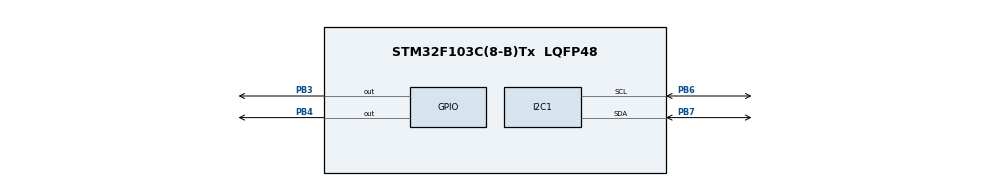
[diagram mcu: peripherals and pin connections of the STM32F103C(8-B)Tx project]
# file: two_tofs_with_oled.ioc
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I2C1.I2C_Mode=I2C_Fast
Mcu.Family=STM32F1
Mcu.Name=STM32F103C(8-B)Tx
Mcu.Package=LQFP48
NVIC.PriorityGroup=NVIC_PRIORITYGROUP_4
PA13.Mode=Serial_Wire
PA13.Signal=SYS_JTMS-SWDIO
PA14.Mode=Serial_Wire
PA14.Signal=SYS_JTCK-SWCLK
PB3.Signal=GPIO_Output
PB4.Signal=GPIO_Output
PB6.Mode=I2C
PB6.Signal=I2C1_SCL
PB7.Mode=I2C
PB7.Signal=I2C1_SDA
ProjectManager.HeapSize=0x200
ProjectManager.StackSize=0x400
ProjectManager.TargetToolchain=STM32CubeIDE
RCC.APB1Freq_Value=8000000
RCC.APB2Freq_Value=8000000
board=custom

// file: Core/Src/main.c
/* USER CODE BEGIN Header */
/**
  ******************************************************************************
  * @file           : main.c
  * @brief          : Main program body
  ******************************************************************************
  * @attention
  *
  * Copyright (c) 2025 STMicroelectronics.
  * All rights reserved.
  *
  * This software is licensed under terms that can be found in the LICENSE file
  * in the root directory of this software component.
  * If no LICENSE file comes with this software, it is provided AS-IS.
  *
  ******************************************************************************
  */
/* USER CODE END Header */
#include "main.h"

/* USER CODE BEGIN Includes */
#include "fonts.h"
#include "ssd1306.h"
#include "VL53L0X.h"
/* USER CODE END Includes */

I2C_HandleTypeDef hi2c1;

void SystemClock_Config(void);
static void MX_GPIO_Init(void);
static void MX_I2C1_Init(void);

/* USER CODE BEGIN 0 */
uint8_t stop_variable = 50;
uint16_t timeout_start_ms = 50;
uint16_t io_timeout = 50;
uint8_t did_timeout = 50;

uint8_t SENSOR1_ADDRESS =0x31;
uint8_t SENSOR2_ADDRESS = 0x32;

void displayMessage(const char *line1, const char *line2, uint16_t delay) {
    SSD1306_Clear();
    SSD1306_GotoXY(0, 10);
    SSD1306_Puts(line1, &Font_11x18, 1);
    if (line2 != NULL) {
        SSD1306_GotoXY(0, 30);
        SSD1306_Puts(line2, &Font_11x18, 1);
    }
    SSD1306_UpdateScreen();
    HAL_Delay(delay);
}

void scanI2CBus(void) {
    char buffer[16];
    SSD1306_Clear();
    SSD1306_GotoXY(0, 0);
    SSD1306_Puts("I2C Scan:", &Font_11x18, 1);

    for (uint8_t address = 1; address < 128; address++) {
        // Perform an I2C write operation to check if the device responds
        if (HAL_I2C_IsDeviceReady(&hi2c1, (address << 1), 1, 10) == HAL_OK) {
            snprintf(buffer, sizeof(buffer), "Found: 0x%02X", address);
            SSD1306_GotoXY(0, 30);
            SSD1306_Puts(buffer, &Font_11x18, 1);
            SSD1306_UpdateScreen();
            HAL_Delay(1000);
            //SD1306_Clear();// Delay to display each address found
        }
    }
    HAL_Delay(2000);  // Delay at the end of the scan
}

/* USER CODE END 0 */

int main(void)
{

  /* MCU Configuration--------------------------------------------------------*/

  /* Reset of all peripherals, Initializes the Flash interface and the Systick. */
  HAL_Init();

  /* Configure the system clock */
  SystemClock_Config();

  /* Initialize all configured peripherals */
  MX_GPIO_Init();
  MX_I2C1_Init();
  /* USER CODE BEGIN 2 */

  //scanI2CBus();
  //displayMessage("Initializing", "I2C...", 500);

//  if (HAL_I2C_Init(&hi2c1) != HAL_OK) {
//      displayMessage("I2C Init", "Failed", 2000);
//      Error_Handler();
//  } else {
//      displayMessage("I2C Init", "Success", 2000);
//  }

  HAL_GPIO_WritePin(GPIOB, GPIO_PIN_3, 1);  // Enable Sensor 1
  HAL_GPIO_WritePin(GPIOB, GPIO_PIN_4, 0);  // Disable Sensor 2
  HAL_Delay(50);

//  displayMessage("Initializing", "Sensor 1", 500);
  if (!init(true)) {
      //displayMessage("Sensor 1", "Init Failed", 2000);
      Error_Handler();
  }
  setAddress(SENSOR1_ADDRESS);
  //displayMessage("Sensor 1", "Initialized", 1000);
  //scanI2CBus();

  HAL_GPIO_WritePin(GPIOB, GPIO_PIN_3, 0);  // Disable Sensor 1
  HAL_GPIO_WritePin(GPIOB, GPIO_PIN_4, 1);  // Enable Sensor 2
  HAL_Delay(50);

  //displayMessage("Initializing", "Sensor 2", 500);
  if (!init(true)) {
    //  displayMessage("Sensor 2", "Init Failed", 2000);
      Error_Handler();
  }
  setAddress(SENSOR2_ADDRESS);
  //displayMessage("Sensor 2", "Initialized", 1000);
  SSD1306_Init();
  scanI2CBus();
  uint16_t distance1, distance2;
  char buffer1[16], buffer2[16];
 // HAL_GPIO_WritePin(GPIOB, GPIO_PIN_3, 1);
 // HAL_GPIO_WritePin(GPIOB, GPIO_PIN_4, 1);
  /* USER CODE END 2 */

  /* Infinite loop */
  /* USER CODE BEGIN WHILE */
  while (1)
  {
	  HAL_GPIO_WritePin(GPIOB, GPIO_PIN_3, 1); // Enable Sensor 1
	  HAL_GPIO_WritePin(GPIOB, GPIO_PIN_4, 0); // Disable Sensor 2

	  VL53L0X_SetAddress(SENSOR1_ADDRESS);
	  uint16_t distance = readRangeSingleMillimeters();
	  SSD1306_Clear();
	  SSD1306_GotoXY(0, 10);
	  SSD1306_Puts("Sensor 1:", &Font_11x18, 1);
	  SSD1306_GotoXY(0, 30);
	  itoa(distance, buffer1, 10);
	  SSD1306_Puts(buffer1, &Font_11x18, 1);
	  SSD1306_UpdateScreen();
	  HAL_Delay(1000);

    /* USER CODE END WHILE */

  }
}

void SystemClock_Config(void)
{
  RCC_OscInitTypeDef RCC_OscInitStruct = {0};
  RCC_ClkInitTypeDef RCC_ClkInitStruct = {0};

  /** Initializes the RCC Oscillators according to the specified parameters
  * in the RCC_OscInitTypeDef structure.
  */
  RCC_OscInitStruct.OscillatorType = RCC_OSCILLATORTYPE_HSI;
  RCC_OscInitStruct.HSIState = RCC_HSI_ON;
  RCC_OscInitStruct.HSICalibrationValue = RCC_HSICALIBRATION_DEFAULT;
  RCC_OscInitStruct.PLL.PLLState = RCC_PLL_NONE;
  if (HAL_RCC_OscConfig(&RCC_OscInitStruct) != HAL_OK)
  {
    Error_Handler();
  }

  /** Initializes the CPU, AHB and APB buses clocks
  */
  RCC_ClkInitStruct.ClockType = RCC_CLOCKTYPE_HCLK|RCC_CLOCKTYPE_SYSCLK
                              |RCC_CLOCKTYPE_PCLK1|RCC_CLOCKTYPE_PCLK2;
  RCC_ClkInitStruct.SYSCLKSource = RCC_SYSCLKSOURCE_HSI;
  RCC_ClkInitStruct.AHBCLKDivider = RCC_SYSCLK_DIV1;
  RCC_ClkInitStruct.APB1CLKDivider = RCC_HCLK_DIV1;
  RCC_ClkInitStruct.APB2CLKDivider = RCC_HCLK_DIV1;

  if (HAL_RCC_ClockConfig(&RCC_ClkInitStruct, FLASH_LATENCY_0) != HAL_OK)
  {
    Error_Handler();
  }
}

static void MX_I2C1_Init(void)
{

  hi2c1.Instance = I2C1;
  hi2c1.Init.ClockSpeed = 400000;
  hi2c1.Init.DutyCycle = I2C_DUTYCYCLE_2;
  hi2c1.Init.OwnAddress1 = 0;
  hi2c1.Init.AddressingMode = I2C_ADDRESSINGMODE_7BIT;
  hi2c1.Init.DualAddressMode = I2C_DUALADDRESS_DISABLE;
  hi2c1.Init.OwnAddress2 = 0;
  hi2c1.Init.GeneralCallMode = I2C_GENERALCALL_DISABLE;
  hi2c1.Init.NoStretchMode = I2C_NOSTRETCH_DISABLE;
  if (HAL_I2C_Init(&hi2c1) != HAL_OK)
  {
    Error_Handler();
  }

}

static void MX_GPIO_Init(void)
{
  GPIO_InitTypeDef GPIO_InitStruct = {0};

  /* GPIO Ports Clock Enable */
  __HAL_RCC_GPIOA_CLK_ENABLE();
  __HAL_RCC_GPIOB_CLK_ENABLE();

  /*Configure GPIO pin Output Level */
  HAL_GPIO_WritePin(GPIOB, GPIO_PIN_3|GPIO_PIN_4, GPIO_PIN_RESET);

  /*Configure GPIO pins : PB3 PB4 */
  GPIO_InitStruct.Pin = GPIO_PIN_3|GPIO_PIN_4;
  GPIO_InitStruct.Mode = GPIO_MODE_OUTPUT_PP;
  GPIO_InitStruct.Pull = GPIO_NOPULL;
  GPIO_InitStruct.Speed = GPIO_SPEED_FREQ_LOW;
  HAL_GPIO_Init(GPIOB, &GPIO_InitStruct);

}

void Error_Handler(void)
{
  __disable_irq();
  while (1)
  {
  }
}
